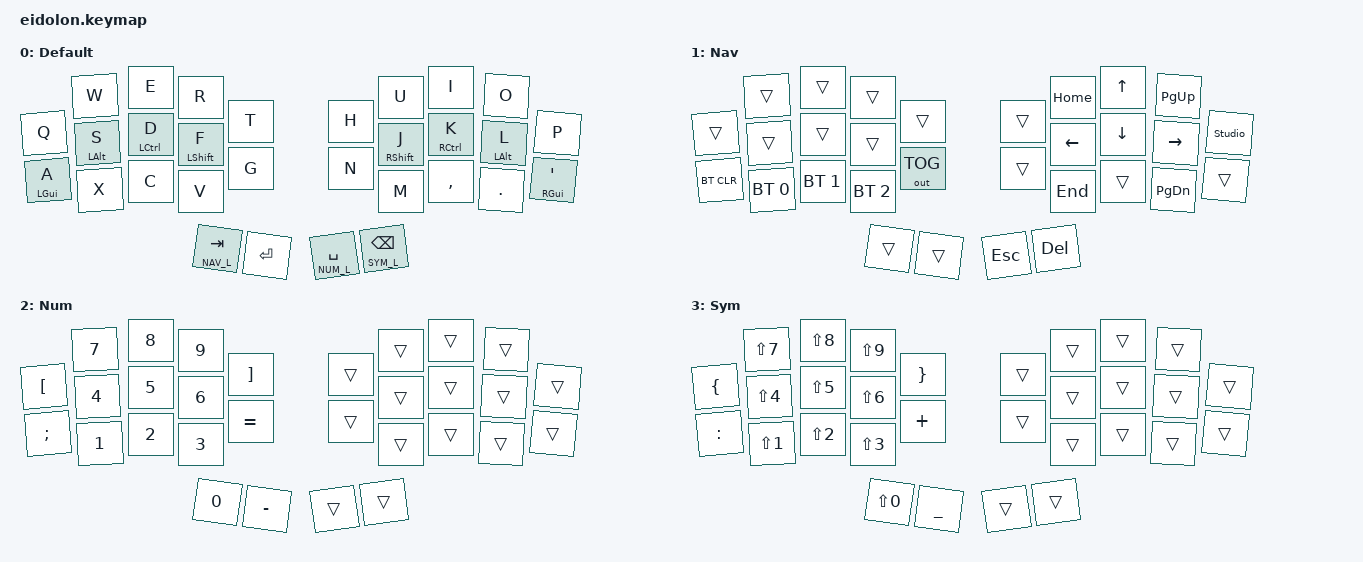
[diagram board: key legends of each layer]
/*
 * Copyright (c) 2026 Jonny Irwin
 * SPDX-License-Identifier: MIT
 *
 * Default keymap adapted from the ZMK hummingbird shield (same 30-key column
 * structure: 2-key pinky and inner columns, 3-key ring/middle/index, 2 thumbs
 * per half). Letters map 1:1 by key; Z, B, Y and / are combos on the
 * bottom row, as on the hummingbird. Positions are in the shield's 5-5-3
 * logical order (see eidolon.dtsi). BLE profile controls added on the nav
 * layer's left half.
 */

#include <behaviors.dtsi>
#include <dt-bindings/zmk/bt.h>
#include <dt-bindings/zmk/keys.h>
#include <dt-bindings/zmk/outputs.h>

#define DEF_L 0
#define NAV_L 1
#define NUM_L 2
#define SYM_L 3

// Using layer taps on thumbs, having quick tap as well helps w/ repeating space/backspace
&lt { quick-tap-ms = <200>; };

/ {
    behaviors {
        hm: homerow_mods {
            compatible = "zmk,behavior-hold-tap";
            #binding-cells = <2>;
            tapping-term-ms = <225>;
            flavor = "tap-preferred";
            bindings = <&kp>, <&kp>;
        };
    };

    combos {
        compatible = "zmk,combos";
        combo_z {
            timeout-ms = <50>;
            key-positions = <20 21>;
            bindings = <&kp Z>;
        };
        combo_b {
            timeout-ms = <50>;
            key-positions = <21 22>;
            bindings = <&kp B>;
        };

        combo_y {
            timeout-ms = <50>;
            key-positions = <23 24>;
            bindings = <&kp Y>;
        };

        combo_slash {
            timeout-ms = <50>;
            key-positions = <24 25>;
            bindings = <&kp SLASH>;
        };
    };

    keymap {
        compatible = "zmk,keymap";

        default_layer {
            display-name = "Default";
            bindings = <
                &kp Q            &kp W            &kp E            &kp R            &kp T             &kp H            &kp U            &kp I            &kp O            &kp P
                &hm LGUI A       &hm LALT S       &hm LCTRL D      &hm LSHFT F      &kp G             &kp N            &hm RSHFT J      &hm RCTRL K      &hm LALT L       &hm RGUI SQT
                                 &kp X            &kp C            &kp V                                               &kp M            &kp COMMA        &kp DOT
                                                                   &lt NAV_L TAB    &kp RET           &lt NUM_L SPACE  &lt SYM_L BSPC
            >;
        };

        nav_layer {
            display-name = "Nav";
            bindings = <
                &trans          &trans          &trans          &trans          &trans           &trans          &kp HOME        &kp UP          &kp PG_UP       &studio_unlock
                &bt BT_CLR      &trans          &trans          &trans          &out OUT_TOG     &trans          &kp LEFT        &kp DOWN        &kp RIGHT       &trans
                                &bt BT_SEL 0    &bt BT_SEL 1    &bt BT_SEL 2                                     &kp END         &trans          &kp PG_DN
                                                                &trans          &trans           &kp ESC         &kp DEL
            >;
        };

        num_layer {
            display-name = "Num";
            bindings = <
                &kp LBKT   &kp N7     &kp N8     &kp N9     &kp RBKT    &trans     &trans     &trans     &trans     &trans
                &kp SEMI   &kp N4     &kp N5     &kp N6     &kp EQUAL   &trans     &trans     &trans     &trans     &trans
                           &kp N1     &kp N2     &kp N3                            &trans     &trans     &trans
                                                 &kp N0     &kp MINUS   &trans     &trans
            >;
        };

        sym_layer {
            display-name = "Sym";
            bindings = <
                &kp LBRC    &kp LS(N7)  &kp LS(N8)  &kp LS(N9)  &kp RBRC     &trans      &trans      &trans      &trans      &trans
                &kp COLON   &kp LS(N4)  &kp LS(N5)  &kp LS(N6)  &kp PLUS     &trans      &trans      &trans      &trans      &trans
                            &kp LS(N1)  &kp LS(N2)  &kp LS(N3)                           &trans      &trans      &trans
                                                    &kp LS(N0)  &kp UNDER    &trans      &trans
            >;
        };
    };
};
